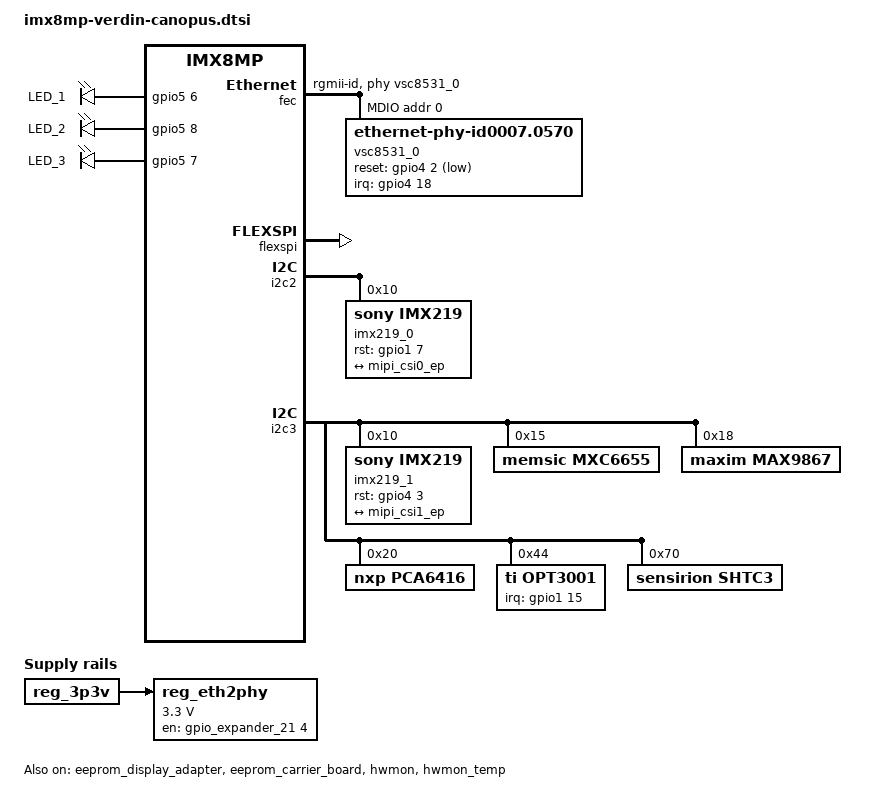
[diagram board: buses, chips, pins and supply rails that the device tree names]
// SPDX-License-Identifier: GPL-2.0-or-later OR MIT
/*
 * Copyright 2022 Toradex
 */
#include "dt-bindings/net/mscc-phy-vsc8531.h"

/ {
	reg_eth2phy: regulator-eth2phy {
		compatible = "regulator-fixed";
		enable-active-high;
		gpio = <&gpio_expander_21 4 GPIO_ACTIVE_HIGH>; /* ETH_PWR_EN */
		off-on-delay = <500000>;
		regulator-max-microvolt = <3300000>;
		regulator-min-microvolt = <3300000>;
		regulator-name = "+V3.3_ETH";
		startup-delay-us = <200000>;
		vin-supply = <&reg_3p3v>;
	};

 	sound_card: sound-card {
                compatible = "simple-audio-card";
                simple-audio-card,format = "i2s";
                simple-audio-card,frame-master = <&dailink_master>;
                simple-audio-card,bitclock-master = <&dailink_master>;
                simple-audio-card,name = "max9867";
                status = "okay";
                simple-audio-card,routing =
                    "Left Line", "LOUT",
                    "Right Line", "ROUT";
                simple-audio-card,widgets =
                    "Headphones", "Headphones",
                    "Line", "Left Line",
                    "Line", "Right Line",
                    "Speaker", "Speaker";
                dailink_master: simple-audio-card,cpu {
                        sound-dai = <&sai1>;
                        clocks = <&audio_blk_ctrl IMX8MP_CLK_AUDIOMIX_SAI1_MCLK1>;
                };

                simple-audio-card,codec{
                        sound-dai = <&max9867>;
                };

        };

    aliases {
        ethernet0 = &fec;
    };
};

&{/} {
     leds {
        compatible = "gpio-leds";

        pinctrl-names = "default";
               pinctrl-0 = <&pinctrl_my_led>;
        led-1 {
            label = "LED_1";
            gpios = <&gpio5 6 GPIO_ACTIVE_HIGH>;
            linux,default-trigger = "heartbeat";
            default-state = "off";
        };

        led-2 {
            label = "LED_2";
            gpios = <&gpio5 8 GPIO_ACTIVE_HIGH>;
            linux,default-trigger = "heartbeat";
            default-state = "off";
        };

        led-3 {
            label = "LED_3";
            gpios = <&gpio5 7 GPIO_ACTIVE_HIGH>;
            linux,default-trigger = "heartbeat";
            default-state = "off";
        };
    };   
};

&iomuxc {
    pinctrl_my_led: myledgrp {
               fsl,pins =
                       <MX8MP_IOMUXC_ECSPI1_SCLK__GPIO5_IO06 0x104>, // SODIMM 196// pull-down enabled and drive strength X2
                       <MX8MP_IOMUXC_ECSPI1_MOSI__GPIO5_IO07  0x104>, // SODIMM 200 // pull-down enabled and drive strength X2
            <MX8MP_IOMUXC_ECSPI1_MISO__GPIO5_IO08  0x104>; // SODIMM 198 // pull-down enabled and drive strength X2
       };
};

&backlight {
	power-supply = <&reg_3p3v>;
};

/* Verdin SPI_1 */
&ecspi1 {
	status = "disabled";
};

/* EEPROM on display adapter boards */
&eeprom_display_adapter {
	status = "okay";
};

/* EEPROM on Verdin Development board */
&eeprom_carrier_board {
	status = "okay";
};

&eqos {
	status = "disabled";
};

&fec {
	fsl,magic-packet;
	phy-handle = <&vsc8531_0>;
	phy-mode = "rgmii-id";
	pinctrl-names = "default", "sleep";
	pinctrl-0 = <&pinctrl_fec>;
	pinctrl-1 = <&pinctrl_fec_sleep>;
    status = "okay";

	mdio {
		#address-cells = <1>;
		#size-cells = <0>;

        vsc8531_0: ethernet-phy@0 {
            reg = <0>;
            compatible = "ethernet-phy-id0007.0570";
            reset-gpios = <&gpio4 2 GPIO_ACTIVE_LOW>;
            vsc8531,vddmac		= <3300>;
            vsc8531,edge-slowdown	= <7>;
            vsc8531,led-0-mode	= <VSC8531_LINK_1000_ACTIVITY>;
            vsc8531,led-1-mode	= <VSC8531_LINK_100_ACTIVITY>;
			interrupt-parent = <&gpio4>;
			interrupts = <18 IRQ_TYPE_LEVEL_LOW>;
		    //load-save-gpios		= <&gpio 10 GPIO_ACTIVE_HIGH>;
        };
	}; 
};

&flexcan1 {
	status = "disabled";
};

&flexcan2 {
	status = "disabled";
};

/* Verdin QSPI_1 */
&flexspi {
	status = "okay";
};

&gpio_expander_21 {
	status = "okay";
	vcc-supply = <&reg_1p8v>;
};



/* Current measurement into module VCC */
&hwmon {
	status = "okay";
};

&hwmon_temp {
	vs-supply = <&reg_1p8v>;
	status = "okay";
};

/* Verdin I2C_2_DSI */
&i2c2 {
	status = "okay";
    /delete-property/ atmel_mxt_ts_mezzanine;
    
	imx219_0: imx219_mipi@10 {
		compatible = "sony,imx219";
		reg = <0x10>;
		clocks = <&clk IMX8MP_CLK_IPP_DO_CLKO2>;
		clock-names = "xclk";
		assigned-clocks = <&clk IMX8MP_CLK_IPP_DO_CLKO2>;
		assigned-clock-parents = <&clk IMX8MP_CLK_24M>;
		assigned-clock-rates = <24000000>;
		csi_id = <0>;
		rst-gpios = <&gpio1 7 GPIO_ACTIVE_HIGH>;
		mclk = <24000000>;
		mclk_source = <0>;

		mipi_csi;
		status = "okay";

		port {
			imx219_mipi_0_ep: endpoint {
				remote-endpoint = <&mipi_csi0_ep>;
				data-lanes = <2>;
				clock-lanes = <0>;
				clock-noncontinuous;
				max-pixel-frequency = /bits/ 64 <456000000>;
			};
		};

	};
};

&i2c3 {
	status = "okay";

	imx219_1: imx219_mipi@10 {
		compatible = "sony,imx219";
		reg = <0x10>;
		clocks = <&clk IMX8MP_CLK_IPP_DO_CLKO2>;
		clock-names = "xclk";
		assigned-clocks = <&clk IMX8MP_CLK_IPP_DO_CLKO2>;
		assigned-clock-parents = <&clk IMX8MP_CLK_24M>;
		assigned-clock-rates = <24000000>;
		csi_id = <1>;
		rst-gpios = <&gpio4 3 GPIO_ACTIVE_HIGH>;
		mclk = <24000000>;
		mclk_source = <0>;

		mipi_csi;
		status = "okay";

		port {
			imx219_mipi_1_ep: endpoint {
				remote-endpoint = <&mipi_csi1_ep>;
				data-lanes = <2>;
				clock-lanes = <0>;
				clock-noncontinuous;
				max-pixel-frequency = /bits/ 64 <456000000>;
			};
		};


};

/* Verdin I2C_1 */
&i2c4 {
	status = "okay";

	accerometer: mx6655@15 {
        label = "mxc6655";
		compatible = "memsic,mxc6655";
		reg = <0x15>;
	};

	/* Audio Codec */
	max9867: max9867@18 {
        label = "max9867";
		compatible = "maxim,max9867";
        clocks = <&audio_blk_ctrl IMX8MP_CLK_AUDIOMIX_SAI1_MCLK1>;
		#sound-dai-cells = <0>;
		reg = <0x18>;
	};

	/* IO Expander */
	pca6416: gpio@20 {
        label = "pca6416";
		compatible = "nxp,pca6416";
		reg = <0x20>;
		gpio-controller;
		#gpio-cells = <2>;
	};

	light-sensor@44 {
        label = "opt3001";
		compatible = "ti,opt3001";
		reg = <0x44>;
		interrupt-parent = <&gpio1>;
		interrupts = <15 IRQ_TYPE_EDGE_FALLING>;
	};

	/* Temperature, humidty sensor */
	shtc3: shtc3@70 {
        label = "shtc3";
		compatible = "sensirion,shtc3";
		reg = <0x70>;
		sensirion,blocking-io;
	};

};

/* Verdin PCIE_1 */
&pcie {
	epdev_on-supply = <&reg_3p3v>;
	status = "okay";
};

&pcie_phy {
	status = "okay";
};

/* Verdin PWM_1 */
&pwm1 {
	status = "okay";
};

/* Verdin PWM_2 */
&pwm2 {
	status = "disabled";
};

/* Verdin PWM_3_DSI */
&pwm3 {
	status = "okay";
};

&reg_usdhc2_vmmc {
	vin-supply = <&reg_3p3v>;
};

/* Verdin I2S_1 */
&sai1 {
	#sound-dai-cells = <0>;
	assigned-clocks = <&clk IMX8MP_CLK_SAI1>;
	assigned-clock-parents = <&clk IMX8MP_AUDIO_PLL1_OUT>;
	assigned-clock-rates = <24576000>;
	clocks = <&audio_blk_ctrl IMX8MP_CLK_AUDIOMIX_SAI1_IPG>, <&clk IMX8MP_CLK_DUMMY>,
		 <&audio_blk_ctrl IMX8MP_CLK_AUDIOMIX_SAI1_MCLK1>, <&clk IMX8MP_CLK_DUMMY>,
		 <&clk IMX8MP_CLK_DUMMY>, <&clk IMX8MP_AUDIO_PLL1_OUT>, <&clk IMX8MP_AUDIO_PLL2_OUT>;
	clock-names = "bus", "mclk0", "mclk1", "mclk2", "mclk3", "pll8k", "pll11k";
	fsl,sai-mclk-direction-output;
	pinctrl-names = "default";
	pinctrl-0 = <&pinctrl_sai1>;
    status = "disable";
};

/* Verdin UART_1, connector X50 through RS485 transceiver */
&uart1 {
/*	linux,rs485-enabled-at-boot-time;
	rs485-rts-active-low;
	rs485-rx-during-tx;*/
	status = "okay";
    cts-gpios = <&gpio4 24 GPIO_ACTIVE_LOW>;
	rts-gpios = <&gpio4 23 GPIO_ACTIVE_LOW>;
};

/* Verdin UART_2 */
&uart2 {
	status = "okay";
};

/* Verdin UART_3, used as the Linux Console */
&uart3 {
	status = "okay";
};

&uart4 {
    status = "okay";
};

/* Verdin USB_1 */
&usb3_phy0 {
	status = "okay";
};

&usb3_0 {
	status = "okay";
};

&usb_dwc3_0 {
	status = "okay";
};

/* Verdin USB_2 */
&usb3_phy1 {
	status = "okay";
};

&usb3_1 {
	status = "okay";
};

&usb_dwc3_1 {
	status = "okay";
};

/* Limit frequency on dev board due to long traces and bad signal integrity */
&usdhc2 {
	max-frequency = <100000000>;
	status = "okay";
};

&mipi_csi_0 {
	#address-cells = <1>;
	#size-cells = <0>;
    csi = <0>;
	status = "okay";

	port@0 {
		reg = <0>;
		mipi_csi0_ep: endpoint {
			remote-endpoint = <&imx219_mipi_0_ep>;
			data-lanes = <2>;
            clock-lanes = <0>;
            csis-hs-settle = <16>;
		};
	};
};

&mipi_csi_1 {
	#address-cells = <1>;
	#size-cells = <0>;
    csi = <1>;
	status = "okay";

	port@1 {
		reg = <1>;
		mipi_csi1_ep: endpoint {
			remote-endpoint = <&imx219_mipi_1_ep>;
			data-lanes = <2>;
            clock-lanes = <0>;
            csis-hs-settle = <16>;
		};
	};
};

&cameradev {
	status = "okay";
};

&isi_0 {
	status = "disabled";

	cap_device {
		status = "disabled";
	};

};

&isi_1 {
	status = "disabled";

	cap_device {
		status = "disabled";
	};
};

&isp_0 {
    status = "okay";
};

&isp_1 {
    status = "okay";
};

&dewarp {
    status = "okay";
};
